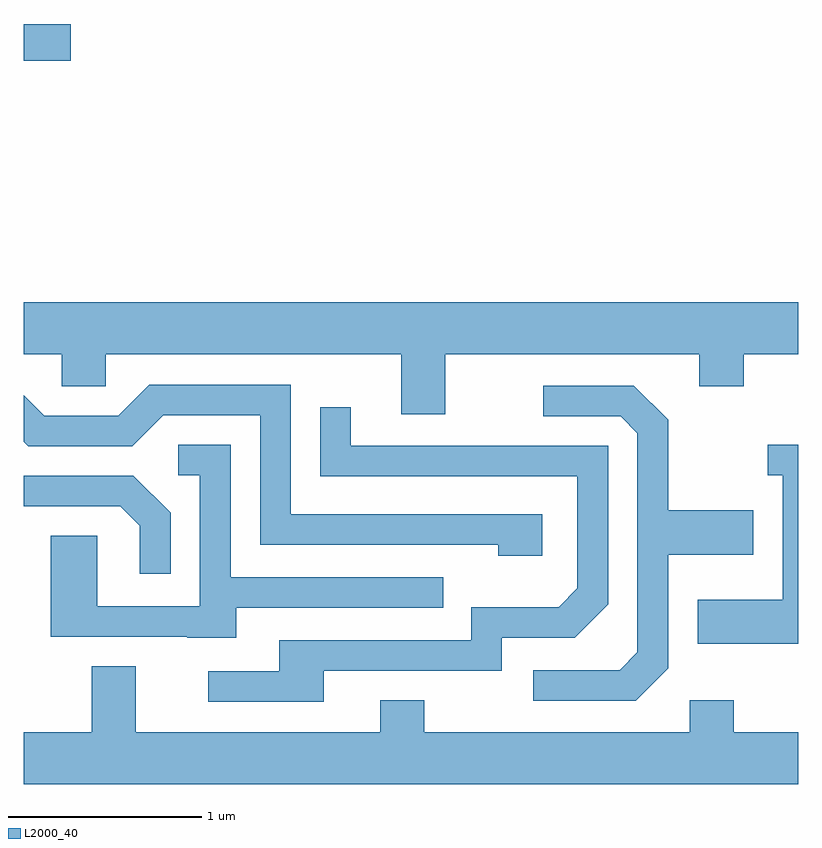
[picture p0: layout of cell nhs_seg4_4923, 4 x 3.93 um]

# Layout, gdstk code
import gdstk
lib = gdstk.Library(unit=1e-6, precision=1e-09)
def R(c, l, rs):  # rectangles x0, y0, x1, y1
    for r in rs: c.add(gdstk.rectangle(r[:2], r[2:], *l))
def P(c, l, *ps):  # polygons
    for p in ps: c.add(gdstk.Polygon(p, *l))
L2000_40 = (2000, 40)

nhs_seg4_4923 = lib.new_cell('nhs_seg4_4923')
R(nhs_seg4_4923, L2000_40, [(329.611,1311.791,329.854,1311.982)])
P(nhs_seg4_4923, L2000_40, [(331.789,1310.276),(333.101,1310.276),(333.101,1310.111),(333.329,1310.111),(333.329,1310.276),(333.611,1310.276),(333.611,1310.544),(329.611,1310.544),(329.611,1310.276),(329.806,1310.276),(329.806,1310.111),(330.034,1310.111),(330.034,1310.276),(331.561,1310.276),(331.561,1309.966),(331.789,1309.966)],
  [(332.289,1309.449),(330.989,1309.449),(330.989,1310.119),(330.259,1310.119),(330.099,1309.959),(329.717,1309.959),(329.611,1310.065),(329.611,1309.824),(329.634,1309.801),(330.172,1309.801),(330.332,1309.961),(330.831,1309.961),(330.831,1309.291),(332.061,1309.291),(332.061,1309.236),(332.289,1309.236)],
  [(332.939,1308.654),(332.939,1309.241),(333.379,1309.241),(333.379,1309.469),(332.939,1309.469),(332.939,1309.937),(332.762,1310.114),(332.293,1310.114),(332.293,1309.956),(332.694,1309.956),(332.781,1309.869),(332.781,1308.737),(332.689,1308.644),(332.243,1308.644),(332.243,1308.486),(332.772,1308.486)],
  [(331.159,1308.641),(332.079,1308.641),(332.079,1308.811),(332.457,1308.811),(332.629,1308.984),(332.629,1309.804),(331.299,1309.804),(331.299,1310.003),(331.141,1310.003),(331.141,1309.646),(332.471,1309.646),(332.471,1309.067),(332.374,1308.969),(331.921,1308.969),(331.921,1308.799),(330.931,1308.799),(330.931,1308.639),(330.563,1308.639),(330.563,1308.481),(331.159,1308.481)],
  [(333.611,1309.809),(333.453,1309.809),(333.453,1309.651),(333.531,1309.651),(333.531,1309.009),(333.091,1309.009),(333.091,1308.781),(333.611,1308.781)],
  [(330.709,1308.966),(331.778,1308.966),(331.778,1309.124),(330.679,1309.124),(330.679,1309.809),(330.408,1309.809),(330.408,1309.651),(330.521,1309.651),(330.521,1308.974),(329.989,1308.974),(329.989,1309.339),(329.751,1309.339),(329.751,1308.816),(330.455,1308.816),(330.455,1308.811),(330.709,1308.811)],
  [(330.369,1309.457),(330.177,1309.649),(329.611,1309.649),(329.611,1309.491),(330.109,1309.491),(330.211,1309.389),(330.211,1309.143),(330.369,1309.143)],
  [(333.611,1308.324),(333.279,1308.324),(333.279,1308.489),(333.051,1308.489),(333.051,1308.324),(331.679,1308.324),(331.679,1308.489),(331.451,1308.489),(331.451,1308.324),(330.189,1308.324),(330.189,1308.664),(329.961,1308.664),(329.961,1308.324),(329.611,1308.324),(329.611,1308.056),(333.611,1308.056)])

lib.write_gds('nhs_seg4_4923.gds')
